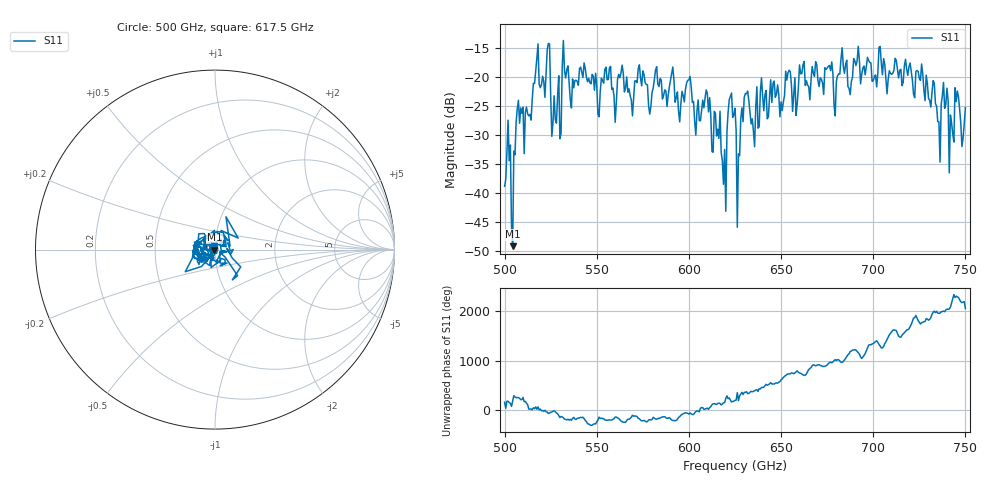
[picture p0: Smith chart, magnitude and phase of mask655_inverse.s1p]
!Created with skrf (http://scikit-rf.org).
# GHz S MA R 50.0
!freq magS11 angS11
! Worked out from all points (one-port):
!   401 points, 500 GHz to 750 GHz, reference 50 ohm
!   lowest |S11| = -49.2 dB at 504.4 GHz (marker M1), VSWR 1.01, Z = 49.7 - j0.0639 ohm
!   |S11| at or under -10 dB: start of sweep to end of sweep
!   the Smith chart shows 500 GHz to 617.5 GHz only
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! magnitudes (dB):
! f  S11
! 500 GHz  -38.9
! 501.9 GHz  -27.5
! 504.4 GHz  -49.2
! 507.5 GHz  -24.0
! 513.8 GHz  -26.5
! 516.9 GHz  -19.0
! 523.8 GHz  -14.2
! 526.9 GHz  -23.3
! 531.2 GHz  -18.4
! 562.5 GHz  -20.1
! 590.6 GHz  -19.4
! 593.8 GHz  -22.6
! 610 GHz  -22.9
! 618.8 GHz  -38.5
! 621.9 GHz  -23.9
! 625 GHz  -25.4
! 626.9 GHz  -33.3
! 631.2 GHz  -22.9
! 634.4 GHz  -27.2
! 656.2 GHz  -26.0
! 687.5 GHz  -23.1
! 690.6 GHz  -18.0
! 718.8 GHz  -19.7
! 735 GHz  -27.7
! 739.4 GHz  -24.7
! 742.5 GHz  -27.9
! 745.6 GHz  -22.4
! 750 GHz  -25.3
